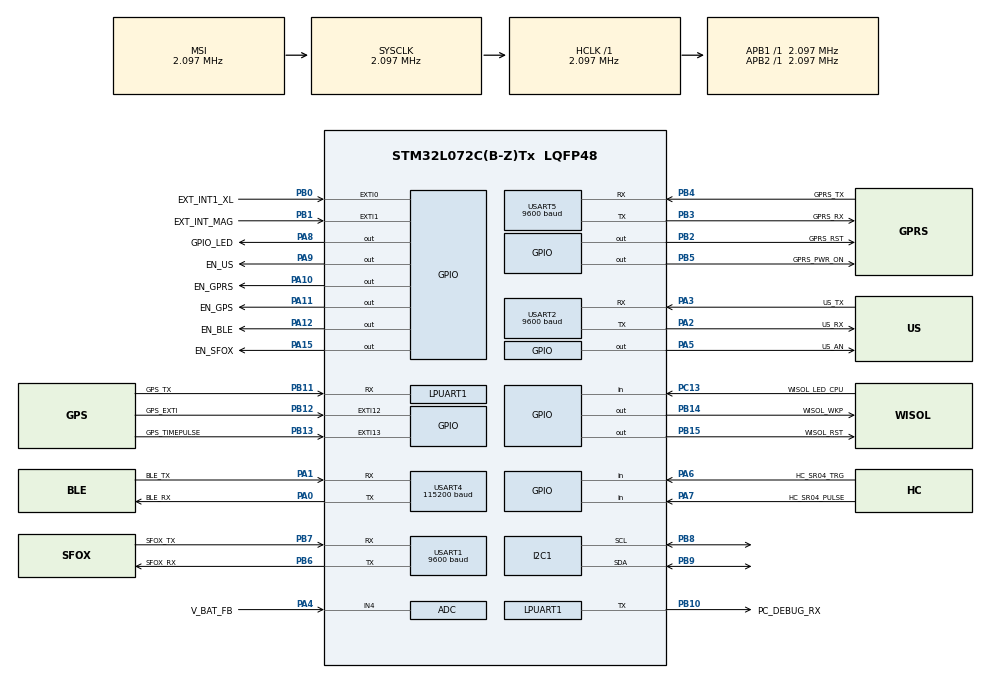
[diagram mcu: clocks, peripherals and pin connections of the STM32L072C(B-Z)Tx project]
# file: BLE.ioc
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Dma.ADC.0.Direction=DMA_PERIPH_TO_MEMORY
Dma.ADC.0.Instance=DMA1_Channel1
Dma.ADC.0.MemDataAlignment=DMA_MDATAALIGN_WORD
Dma.ADC.0.MemInc=DMA_MINC_ENABLE
Dma.ADC.0.Mode=DMA_CIRCULAR
Dma.ADC.0.PeriphDataAlignment=DMA_PDATAALIGN_HALFWORD
Dma.ADC.0.PeriphInc=DMA_PINC_DISABLE
Dma.ADC.0.Priority=DMA_PRIORITY_LOW
Dma.LPUART1_RX.1.Direction=DMA_PERIPH_TO_MEMORY
Dma.LPUART1_RX.1.Instance=DMA1_Channel3
Dma.LPUART1_RX.1.MemDataAlignment=DMA_MDATAALIGN_BYTE
Dma.LPUART1_RX.1.MemInc=DMA_MINC_ENABLE
Dma.LPUART1_RX.1.Mode=DMA_NORMAL
Dma.LPUART1_RX.1.PeriphDataAlignment=DMA_PDATAALIGN_BYTE
Dma.LPUART1_RX.1.PeriphInc=DMA_PINC_DISABLE
Dma.LPUART1_RX.1.Priority=DMA_PRIORITY_VERY_HIGH
Dma.LPUART1_TX.2.Direction=DMA_MEMORY_TO_PERIPH
Dma.LPUART1_TX.2.Instance=DMA1_Channel2
Dma.LPUART1_TX.2.MemDataAlignment=DMA_MDATAALIGN_BYTE
Dma.LPUART1_TX.2.MemInc=DMA_MINC_ENABLE
Dma.LPUART1_TX.2.Mode=DMA_NORMAL
Dma.LPUART1_TX.2.PeriphDataAlignment=DMA_PDATAALIGN_BYTE
Dma.LPUART1_TX.2.PeriphInc=DMA_PINC_DISABLE
Dma.LPUART1_TX.2.Priority=DMA_PRIORITY_VERY_HIGH
Dma.Request0=ADC
Dma.Request1=LPUART1_RX
Dma.Request2=LPUART1_TX
Dma.Request3=USART4_RX
Dma.Request4=USART4_TX
Dma.USART4_RX.3.Direction=DMA_PERIPH_TO_MEMORY
Dma.USART4_RX.3.Instance=DMA1_Channel6
Dma.USART4_RX.3.MemDataAlignment=DMA_MDATAALIGN_BYTE
Dma.USART4_RX.3.MemInc=DMA_MINC_ENABLE
Dma.USART4_RX.3.Mode=DMA_NORMAL
Dma.USART4_RX.3.PeriphDataAlignment=DMA_PDATAALIGN_BYTE
Dma.USART4_RX.3.PeriphInc=DMA_PINC_DISABLE
Dma.USART4_RX.3.Priority=DMA_PRIORITY_HIGH
Dma.USART4_TX.4.Direction=DMA_MEMORY_TO_PERIPH
Dma.USART4_TX.4.Instance=DMA1_Channel7
Dma.USART4_TX.4.MemDataAlignment=DMA_MDATAALIGN_BYTE
Dma.USART4_TX.4.MemInc=DMA_MINC_ENABLE
Dma.USART4_TX.4.Mode=DMA_NORMAL
Dma.USART4_TX.4.PeriphDataAlignment=DMA_PDATAALIGN_BYTE
Dma.USART4_TX.4.PeriphInc=DMA_PINC_DISABLE
Dma.USART4_TX.4.Priority=DMA_PRIORITY_HIGH
LPUART1.BaudRate=9600
LPUART1.WordLength=UART_WORDLENGTH_8B
Mcu.Family=STM32L0
Mcu.Name=STM32L072C(B-Z)Tx
Mcu.Package=LQFP48
NVIC.ADC1_COMP_IRQn=true\:0\:0\:false\:false\:true\:true\:true
NVIC.DMA1_Channel1_IRQn=true\:0\:0\:false\:false\:true\:false\:true
NVIC.DMA1_Channel2_3_IRQn=true\:0\:0\:false\:false\:true\:false\:true
NVIC.DMA1_Channel4_5_6_7_IRQn=true\:0\:0\:false\:false\:true\:false\:true
NVIC.EXTI0_1_IRQn=true\:0\:0\:false\:false\:true\:true\:true
NVIC.EXTI4_15_IRQn=true\:0\:0\:false\:false\:true\:true\:true
NVIC.RCC_CRS_IRQn=true\:0\:0\:false\:false\:true\:true\:false
NVIC.RNG_LPUART1_IRQn=true\:0\:0\:false\:false\:true\:true\:true
NVIC.RTC_IRQn=true\:0\:0\:false\:false\:true\:true\:true
NVIC.USART1_IRQn=true\:0\:0\:false\:false\:true\:true\:true
NVIC.USART2_IRQn=true\:0\:0\:false\:false\:true\:true\:true
NVIC.USART4_5_IRQn=true\:0\:0\:false\:false\:true\:true\:true
PA0.GPIO_Label=BLE_RX
PA0.Mode=Asynchronous
PA0.Signal=USART4_TX
PA1.GPIO_Label=BLE_TX
PA1.Mode=Asynchronous
PA1.Signal=USART4_RX
PA10.GPIO_Label=EN_GPRS
PA10.Signal=GPIO_Output
PA11.GPIO_Label=EN_GPS
PA11.Signal=GPIO_Output
PA12.GPIO_Label=EN_BLE
PA12.Signal=GPIO_Output
PA13.Mode=Serial_Wire
PA13.Signal=SYS_SWDIO
PA14.Mode=Serial_Wire
PA14.Signal=SYS_SWCLK
PA15.GPIO_Label=EN_SFOX
PA15.Signal=GPIO_Output
PA2.GPIO_Label=US_RX
PA2.Mode=Asynchronous
PA2.Signal=USART2_TX
PA3.GPIO_Label=US_TX
PA3.Mode=Asynchronous
PA3.Signal=USART2_RX
PA4.GPIO_Label=V_BAT_FB
PA4.Mode=IN4
PA4.Signal=ADC_IN4
PA5.GPIO_Label=US_AN
PA5.GPIO_PuPd=GPIO_NOPULL
PA5.GPIO_Speed=GPIO_SPEED_FREQ_VERY_HIGH
PA5.PinState=GPIO_PIN_SET
PA5.Signal=GPIO_Output
PA6.GPIO_Label=HC_SR04_TRG
PA6.Signal=GPIO_Input
PA7.GPIO_Label=HC_SR04_PULSE
PA7.Signal=GPIO_Input
PA8.GPIO_Label=GPIO_LED
PA8.GPIO_PuPd=GPIO_PULLDOWN
PA8.GPIO_Speed=GPIO_SPEED_FREQ_HIGH
PA8.Signal=GPIO_Output
PA9.GPIO_Label=EN_US
PA9.Signal=GPIO_Output
PB0.GPIO_Label=EXT_INT1_XL
PB0.Signal=GPXTI0
PB1.GPIO_Label=EXT_INT_MAG
PB1.Signal=GPXTI1
PB10.GPIO_Label=PC_DEBUG_RX
PB10.Mode=Asynchronous
PB10.Signal=LPUART1_TX
PB11.GPIO_Label=GPS_TX
PB11.Mode=Asynchronous
PB11.Signal=LPUART1_RX
PB12.GPIO_Label=GPS_EXTI
PB12.Signal=GPXTI12
PB13.GPIO_Label=GPS_TIMEPULSE
PB13.Signal=GPXTI13
PB14.GPIO_Label=WISOL_WKP
PB14.PinState=GPIO_PIN_SET
PB14.Signal=GPIO_Output
PB15.GPIO_Label=WISOL_RST
PB15.PinState=GPIO_PIN_SET
PB15.Signal=GPIO_Output
PB2.GPIO_Label=GPRS_RST
PB2.GPIO_ModeDefaultOutputPP=GPIO_MODE_OUTPUT_OD
PB2.GPIO_PuPd=GPIO_PULLUP
PB2.PinState=GPIO_PIN_SET
PB2.Signal=GPIO_Output
PB3.GPIO_Label=GPRS_RX
PB3.Mode=Asynchronous
PB3.Signal=USART5_TX
PB4.GPIO_Label=GPRS_TX
PB4.Mode=Asynchronous
PB4.Signal=USART5_RX
PB5.GPIO_Label=GPRS_PWR_ON
PB5.Signal=GPIO_Output
PB6.GPIO_Label=SFOX_RX
PB6.Mode=Asynchronous
PB6.Signal=USART1_TX
PB7.GPIO_Label=SFOX_TX
PB7.Mode=Asynchronous
PB7.Signal=USART1_RX
PB8.Mode=I2C
PB8.Signal=I2C1_SCL
PB9.Mode=I2C
PB9.Signal=I2C1_SDA
PC13.GPIO_Label=WISOL_LED_CPU
PC13.Signal=GPIO_Input
ProjectManager.HeapSize=0x200
ProjectManager.StackSize=0x400
ProjectManager.TargetToolchain=TrueSTUDIO
RCC.ADCFreq_Value=4000000
RCC.AHBFreq_Value=2097000
RCC.APB1Freq_Value=2097000
RCC.APB1TimFreq_Value=2097000
RCC.APB2Freq_Value=2097000
RCC.APB2TimFreq_Value=2097000
RCC.HCLKFreq_Value=2097000
RCC.HSE_Timout=1000
RCC.HSE_VALUE=8000000
RCC.HSI16_VALUE=16000000
RCC.HSI48_VALUE=48000000
RCC.HSIRCDiv=4
RCC.HSI_VALUE=4000000
RCC.INSTRUCTION_CACHE_ENABLE=0
RCC.LSE_VALUE=32768
RCC.MSI_VALUE=2097000
RCC.PLLDIV=RCC_PLLDIV_4
RCC.PLLMUL=RCC_PLLMUL_4
RCC.PREFETCH_ENABLE=1
RCC.SYSCLKFreq_VALUE=2097000
RCC.VCOOutputFreq_Value=16000000
RTC.WakeUpClock-WakeUp=RTC_WAKEUPCLOCK_CK_SPRE_16BITS
RTC.WakeUpCounter-WakeUp=1
USART1.BaudRate=9600
USART1.VirtualMode-Asynchronous=VM_ASYNC
USART2.BaudRate=9600
USART2.VirtualMode-Asynchronous=VM_ASYNC
USART4.BaudRate=115200
USART4.VirtualMode-Asynchronous=VM_ASYNC
USART5.BaudRate=9600
USART5.VirtualMode-Asynchronous=VM_ASYNC
VP_ADC_TempSens_Input.Mode=IN-TempSens
VP_RTC_VS_RTC_Activate.Mode=RTC_Enabled
VP_RTC_VS_RTC_WakeUp_intern.Mode=WakeUp
board=custom

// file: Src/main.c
/* USER CODE BEGIN Header */
/**
 ******************************************************************************
 * @file           : main.c
 * @brief          : Main program body
 ******************************************************************************
 * @attention
 *
 * <h2><center>&copy; Copyright (c) 2020 STMicroelectronics.
 * All rights reserved.</center></h2>
 *
 * This software component is licensed by ST under BSD 3-Clause license,
 * the "License"; You may not use this file except in compliance with the
 * License. You may obtain a copy of the License at:
 *                        opensource.org/licenses/BSD-3-Clause
 *
 ******************************************************************************
 */
/* USER CODE END Header */

#include "main.h"

/* USER CODE BEGIN Includes */
#include <math.h>
#include <string.h>
#include <stdio.h>
#include <stdlib.h>
#include <stdbool.h>

/* USER CODE END Includes */

ADC_HandleTypeDef hadc;
DMA_HandleTypeDef hdma_adc;

I2C_HandleTypeDef hi2c1;

UART_HandleTypeDef hlpuart1;
UART_HandleTypeDef huart1;
UART_HandleTypeDef huart2;
UART_HandleTypeDef huart4;
UART_HandleTypeDef huart5;
DMA_HandleTypeDef hdma_lpuart1_rx;
DMA_HandleTypeDef hdma_lpuart1_tx;
DMA_HandleTypeDef hdma_usart4_rx;
DMA_HandleTypeDef hdma_usart4_tx;

/* USER CODE BEGIN PV */
__IO ITStatus UartReady = RESET;
/* USER CODE END PV */

void SystemClock_Config(void);
static void MX_GPIO_Init(void);
static void MX_DMA_Init(void);
static void MX_ADC_Init(void);
static void MX_I2C1_Init(void);
static void MX_LPUART1_UART_Init(void);
static void MX_USART1_UART_Init(void);
static void MX_USART2_UART_Init(void);
static void MX_USART4_UART_Init(void);
static void MX_USART5_UART_Init(void);
static void MX_RTC_Init(void);
/* USER CODE BEGIN PFP */

/* Buffer used for transmission */
uint8_t aTxBuffer[] = "\n\r ****GPRS TEST****\n\r";

/* Buffer used for reception */
char aRxBuffer[RXBUFFERSIZE];
char word[RXBUFFERSIZE];
int bytesToReceive = sizeof(aRxBuffer), posFimString;

/* USER CODE END PFP */

int main(void) {

	/* MCU Configuration--------------------------------------------------------*/

	/* Reset of all peripherals, Initializes the Flash interface and the Systick. */
	HAL_Init();

	/* Configure the system clock */
	SystemClock_Config();

	/* Initialize all configured peripherals */
	MX_GPIO_Init();
	MX_DMA_Init();
	MX_ADC_Init();
	MX_I2C1_Init();
	MX_LPUART1_UART_Init();
	MX_USART1_UART_Init();
	MX_USART2_UART_Init();
	MX_USART4_UART_Init();
	MX_USART5_UART_Init();
	MX_RTC_Init();
	/* USER CODE BEGIN 2 */

	LED_OFF
	HAL_UART_Transmit(&hlpuart1, (uint8_t*) "\r\nENABLE\r\n", 10, 10);
	HAL_GPIO_WritePin(EN_GPRS_GPIO_Port, EN_GPRS_Pin, 1);
	HAL_Delay(1000);
	HAL_UART_Transmit(&hlpuart1, (uint8_t*) "\r\nRESET\r\n", 9, 10);
	HAL_GPIO_WritePin(GPRS_RST_GPIO_Port, GPRS_RST_Pin, 1);
	HAL_Delay(3000);
	HAL_UART_Transmit(&hlpuart1, (uint8_t*) "\r\nPOWER\r\n", 9, 10);
	HAL_GPIO_WritePin(GPRS_PWR_ON_GPIO_Port, GPRS_PWR_ON_Pin, 1);
	HAL_Delay(10000);
	HAL_UART_Transmit(&hlpuart1, (uint8_t*) "\r\nSTART\r\n", 9, 10);

	/*##-2- Start the transmission process #####################################*/
	/* User start transmission data through "TxBuffer" buffer */
	if (HAL_UART_Transmit_DMA(&hlpuart1, (uint8_t *) aTxBuffer, TXBUFFERSIZE)
			!= HAL_OK) {
		/* Transfer error in transmission process */
		Error_Handler();
	}
	/*##-5- Wait for the end of the transfer ###################################*/
	while (UartReady != SET) {
	}

	/* Reset transmission flag */
	UartReady = RESET;
	/*##-3- Put UART peripheral in reception process ###########################*/
	/* Any data received will be stored in "RxBuffer" buffer : the number max of
	 data received is 10 */

	/*********************************************************************************

	 *********************************************************************************/

	init:

	posFimString = 0;
	if (HAL_UART_Receive_DMA(&hlpuart1, (uint8_t *) aRxBuffer, RXBUFFERSIZE)
			!= HAL_OK) {
		/* Transfer error in reception process */

	}
	/*##-5- Wait for the end of the transfer ###################################*/
	while (UartReady != SET) {
		HAL_UART_Receive_DMA(&hlpuart1, (uint8_t *) aRxBuffer, RXBUFFERSIZE);
		for (int var = 0; var < RXBUFFERSIZE; var++) {
			word[var] = 0;
			if (aRxBuffer[var] == 10) {
				UartReady = SET;
				break;
			}

		}

	}

	/* Reset transmission flag */
	UartReady = RESET;

	for (int var = 0; var < RXBUFFERSIZE; var++) {
		if (aRxBuffer[var] != 0) {
			word[posFimString] = aRxBuffer[var];
			posFimString++;
			aRxBuffer[var] = 0;
		}
	}

	HAL_Delay(100);

	if (posFimString > 2) {
		char tranf[posFimString];
		strcpy(tranf, word);

		/*##-5- Send the received Buffer ###########################################*/
		if (HAL_UART_Transmit_IT(&huart5, (uint8_t *) &tranf, posFimString)
				!= HAL_OK) {
			/* Transfer error in transmission process */
			goto init;
		}
		while (UartReady != SET) {
		}
		UartReady = RESET;

		posFimString = 0;
		if (HAL_UART_Receive_IT(&huart5, (uint8_t *) aRxBuffer, bytesToReceive)
				!= HAL_OK) {
			/* Transfer error in reception process */

		}
		/*##-5- Wait for the end of the transfer ###################################*/
		while (UartReady != SET) {
			for (int var = 0; var < RXBUFFERSIZE; var++) {
				word[var] = 0;
				if (aRxBuffer[var] == 10) {
					UartReady = SET;
					break;
				}
			}
			UartReady = SET;
		}

		/* Reset transmission flag */
		UartReady = RESET;
		HAL_Delay(100);
		for (int var = 0; var < RXBUFFERSIZE; var++) {
			if (aRxBuffer[var] != 0) {
				word[posFimString] = aRxBuffer[var];
				posFimString++;
				aRxBuffer[var] = 0;
			}
		}
		char NEWtranf[posFimString];
		strcpy(NEWtranf, word);
		/*##-5- Send the received Buffer ###########################################*/
		if (HAL_UART_Transmit_DMA(&hlpuart1, (uint8_t *) NEWtranf, posFimString)
				!= HAL_OK || posFimString == 0) {
			/* Transfer error in transmission process */
			goto init;

		}
		while (UartReady != SET) {
		}
		UartReady = RESET;
	}
	/*********************************************************************************

	 *********************************************************************************/
	goto init;
	/*********************************************************************************

	 *********************************************************************************/
	/* USER CODE END 2 */

	/* Infinite loop */
	while (1) {

	}
}

void SystemClock_Config(void) {
	RCC_OscInitTypeDef RCC_OscInitStruct = { 0 };
	RCC_ClkInitTypeDef RCC_ClkInitStruct = { 0 };
	RCC_PeriphCLKInitTypeDef PeriphClkInit = { 0 };

	/** Configure the main internal regulator output voltage
	 */
	__HAL_PWR_VOLTAGESCALING_CONFIG(PWR_REGULATOR_VOLTAGE_SCALE1);
	/** Initializes the CPU, AHB and APB busses clocks
	 */
	RCC_OscInitStruct.OscillatorType = RCC_OSCILLATORTYPE_LSI
			| RCC_OSCILLATORTYPE_MSI;
	RCC_OscInitStruct.LSIState = RCC_LSI_ON;
	RCC_OscInitStruct.MSIState = RCC_MSI_ON;
	RCC_OscInitStruct.MSICalibrationValue = 0;
	RCC_OscInitStruct.MSIClockRange = RCC_MSIRANGE_5;
	RCC_OscInitStruct.PLL.PLLState = RCC_PLL_NONE;
	if (HAL_RCC_OscConfig(&RCC_OscInitStruct) != HAL_OK) {
		Error_Handler();
	}
	/** Initializes the CPU, AHB and APB busses clocks
	 */
	RCC_ClkInitStruct.ClockType = RCC_CLOCKTYPE_HCLK | RCC_CLOCKTYPE_SYSCLK
			| RCC_CLOCKTYPE_PCLK1 | RCC_CLOCKTYPE_PCLK2;
	RCC_ClkInitStruct.SYSCLKSource = RCC_SYSCLKSOURCE_MSI;
	RCC_ClkInitStruct.AHBCLKDivider = RCC_SYSCLK_DIV1;
	RCC_ClkInitStruct.APB1CLKDivider = RCC_HCLK_DIV1;
	RCC_ClkInitStruct.APB2CLKDivider = RCC_HCLK_DIV1;

	if (HAL_RCC_ClockConfig(&RCC_ClkInitStruct, FLASH_LATENCY_0) != HAL_OK) {
		Error_Handler();
	}
	PeriphClkInit.PeriphClockSelection = RCC_PERIPHCLK_USART1
			| RCC_PERIPHCLK_USART2 | RCC_PERIPHCLK_LPUART1 | RCC_PERIPHCLK_I2C1
			| RCC_PERIPHCLK_RTC;
	PeriphClkInit.Usart1ClockSelection = RCC_USART1CLKSOURCE_PCLK2;
	PeriphClkInit.Usart2ClockSelection = RCC_USART2CLKSOURCE_PCLK1;
	PeriphClkInit.Lpuart1ClockSelection = RCC_LPUART1CLKSOURCE_PCLK1;
	PeriphClkInit.I2c1ClockSelection = RCC_I2C1CLKSOURCE_PCLK1;
	PeriphClkInit.RTCClockSelection = RCC_RTCCLKSOURCE_LSI;
	if (HAL_RCCEx_PeriphCLKConfig(&PeriphClkInit) != HAL_OK) {
		Error_Handler();
	}
}

static void MX_ADC_Init(void) {

	ADC_ChannelConfTypeDef sConfig = { 0 };

	/** Configure the global features of the ADC (Clock, Resolution, Data Alignment and number of conversion)
	 */
	hadc.Instance = ADC1;
	hadc.Init.OversamplingMode = DISABLE;
	hadc.Init.ClockPrescaler = ADC_CLOCK_SYNC_PCLK_DIV1;
	hadc.Init.Resolution = ADC_RESOLUTION_12B;
	hadc.Init.SamplingTime = ADC_SAMPLETIME_1CYCLE_5;
	hadc.Init.ScanConvMode = ADC_SCAN_DIRECTION_FORWARD;
	hadc.Init.DataAlign = ADC_DATAALIGN_RIGHT;
	hadc.Init.ContinuousConvMode = DISABLE;
	hadc.Init.DiscontinuousConvMode = DISABLE;
	hadc.Init.ExternalTrigConvEdge = ADC_EXTERNALTRIGCONVEDGE_NONE;
	hadc.Init.ExternalTrigConv = ADC_SOFTWARE_START;
	hadc.Init.DMAContinuousRequests = DISABLE;
	hadc.Init.EOCSelection = ADC_EOC_SINGLE_CONV;
	hadc.Init.Overrun = ADC_OVR_DATA_PRESERVED;
	hadc.Init.LowPowerAutoWait = DISABLE;
	hadc.Init.LowPowerFrequencyMode = DISABLE;
	hadc.Init.LowPowerAutoPowerOff = DISABLE;
	if (HAL_ADC_Init(&hadc) != HAL_OK) {
		Error_Handler();
	}
	/** Configure for the selected ADC regular channel to be converted.
	 */
	sConfig.Channel = ADC_CHANNEL_4;
	sConfig.Rank = ADC_RANK_CHANNEL_NUMBER;
	if (HAL_ADC_ConfigChannel(&hadc, &sConfig) != HAL_OK) {
		Error_Handler();
	}
	/** Configure for the selected ADC regular channel to be converted.
	 */
	sConfig.Channel = ADC_CHANNEL_TEMPSENSOR;
	if (HAL_ADC_ConfigChannel(&hadc, &sConfig) != HAL_OK) {
		Error_Handler();
	}

}

static void MX_I2C1_Init(void) {

	hi2c1.Instance = I2C1;
	hi2c1.Init.Timing = 0x00000708;
	hi2c1.Init.OwnAddress1 = 0;
	hi2c1.Init.AddressingMode = I2C_ADDRESSINGMODE_7BIT;
	hi2c1.Init.DualAddressMode = I2C_DUALADDRESS_DISABLE;
	hi2c1.Init.OwnAddress2 = 0;
	hi2c1.Init.OwnAddress2Masks = I2C_OA2_NOMASK;
	hi2c1.Init.GeneralCallMode = I2C_GENERALCALL_DISABLE;
	hi2c1.Init.NoStretchMode = I2C_NOSTRETCH_DISABLE;
	if (HAL_I2C_Init(&hi2c1) != HAL_OK) {
		Error_Handler();
	}
	/** Configure Analogue filter
	 */
	if (HAL_I2CEx_ConfigAnalogFilter(&hi2c1, I2C_ANALOGFILTER_ENABLE)
			!= HAL_OK) {
		Error_Handler();
	}
	/** Configure Digital filter
	 */
	if (HAL_I2CEx_ConfigDigitalFilter(&hi2c1, 0) != HAL_OK) {
		Error_Handler();
	}

}

static void MX_LPUART1_UART_Init(void) {

	hlpuart1.Instance = LPUART1;
	hlpuart1.Init.BaudRate = 9600;
	hlpuart1.Init.WordLength = UART_WORDLENGTH_8B;
	hlpuart1.Init.StopBits = UART_STOPBITS_1;
	hlpuart1.Init.Parity = UART_PARITY_NONE;
	hlpuart1.Init.Mode = UART_MODE_TX_RX;
	hlpuart1.Init.HwFlowCtl = UART_HWCONTROL_NONE;
	hlpuart1.Init.OneBitSampling = UART_ONE_BIT_SAMPLE_DISABLE;
	hlpuart1.AdvancedInit.AdvFeatureInit = UART_ADVFEATURE_NO_INIT;
	if (HAL_UART_Init(&hlpuart1) != HAL_OK) {
		Error_Handler();
	}

}

static void MX_USART1_UART_Init(void) {

	huart1.Instance = USART1;
	huart1.Init.BaudRate = 9600;
	huart1.Init.WordLength = UART_WORDLENGTH_8B;
	huart1.Init.StopBits = UART_STOPBITS_1;
	huart1.Init.Parity = UART_PARITY_NONE;
	huart1.Init.Mode = UART_MODE_TX_RX;
	huart1.Init.HwFlowCtl = UART_HWCONTROL_NONE;
	huart1.Init.OverSampling = UART_OVERSAMPLING_16;
	huart1.Init.OneBitSampling = UART_ONE_BIT_SAMPLE_DISABLE;
	huart1.AdvancedInit.AdvFeatureInit = UART_ADVFEATURE_NO_INIT;
	if (HAL_UART_Init(&huart1) != HAL_OK) {
		Error_Handler();
	}

}

static void MX_USART2_UART_Init(void) {

	huart2.Instance = USART2;
	huart2.Init.BaudRate = 9600;
	huart2.Init.WordLength = UART_WORDLENGTH_8B;
	huart2.Init.StopBits = UART_STOPBITS_1;
	huart2.Init.Parity = UART_PARITY_NONE;
	huart2.Init.Mode = UART_MODE_TX_RX;
	huart2.Init.HwFlowCtl = UART_HWCONTROL_NONE;
	huart2.Init.OverSampling = UART_OVERSAMPLING_16;
	huart2.Init.OneBitSampling = UART_ONE_BIT_SAMPLE_DISABLE;
	huart2.AdvancedInit.AdvFeatureInit = UART_ADVFEATURE_NO_INIT;
	if (HAL_UART_Init(&huart2) != HAL_OK) {
		Error_Handler();
	}

}

static void MX_USART4_UART_Init(void) {

	huart4.Instance = USART4;
	huart4.Init.BaudRate = 115200;
	huart4.Init.WordLength = UART_WORDLENGTH_8B;
	huart4.Init.StopBits = UART_STOPBITS_1;
	huart4.Init.Parity = UART_PARITY_NONE;
	huart4.Init.Mode = UART_MODE_TX_RX;
	huart4.Init.HwFlowCtl = UART_HWCONTROL_NONE;
	huart4.Init.OverSampling = UART_OVERSAMPLING_16;
	huart4.Init.OneBitSampling = UART_ONE_BIT_SAMPLE_DISABLE;
	huart4.AdvancedInit.AdvFeatureInit = UART_ADVFEATURE_NO_INIT;
	if (HAL_UART_Init(&huart4) != HAL_OK) {
		Error_Handler();
	}

}

static void MX_USART5_UART_Init(void) {

	huart5.Instance = USART5;
	huart5.Init.BaudRate = 9600;
	huart5.Init.WordLength = UART_WORDLENGTH_8B;
	huart5.Init.StopBits = UART_STOPBITS_1;
	huart5.Init.Parity = UART_PARITY_NONE;
	huart5.Init.Mode = UART_MODE_TX_RX;
	huart5.Init.HwFlowCtl = UART_HWCONTROL_NONE;
	huart5.Init.OverSampling = UART_OVERSAMPLING_16;
	huart5.Init.OneBitSampling = UART_ONE_BIT_SAMPLE_DISABLE;
	huart5.AdvancedInit.AdvFeatureInit = UART_ADVFEATURE_NO_INIT;
	if (HAL_UART_Init(&huart5) != HAL_OK) {
		Error_Handler();
	}

}

static void MX_RTC_Init(void) {

	LL_RTC_InitTypeDef RTC_InitStruct = { 0 };

	/* Peripheral clock enable */
	LL_RCC_EnableRTC();

	/* RTC interrupt Init */
	NVIC_SetPriority(RTC_IRQn, 0);
	NVIC_EnableIRQ(RTC_IRQn);

	/** Initialize RTC and set the Time and Date
	 */
	RTC_InitStruct.HourFormat = LL_RTC_HOURFORMAT_24HOUR;
	RTC_InitStruct.AsynchPrescaler = 127;
	RTC_InitStruct.SynchPrescaler = 255;
	LL_RTC_Init(RTC, &RTC_InitStruct);
	/** Initialize RTC and set the Time and Date
	 */
	/** Enable the WakeUp
	 */
	LL_RTC_WAKEUP_SetClock(RTC, LL_RTC_WAKEUPCLOCK_CKSPRE);

}

static void MX_DMA_Init(void) {

	/* DMA controller clock enable */
	__HAL_RCC_DMA1_CLK_ENABLE()
	;

	/* DMA interrupt init */
	/* DMA1_Channel1_IRQn interrupt configuration */
	HAL_NVIC_SetPriority(DMA1_Channel1_IRQn, 0, 0);
	HAL_NVIC_EnableIRQ(DMA1_Channel1_IRQn);
	/* DMA1_Channel2_3_IRQn interrupt configuration */
	HAL_NVIC_SetPriority(DMA1_Channel2_3_IRQn, 0, 0);
	HAL_NVIC_EnableIRQ(DMA1_Channel2_3_IRQn);
	/* DMA1_Channel4_5_6_7_IRQn interrupt configuration */
	HAL_NVIC_SetPriority(DMA1_Channel4_5_6_7_IRQn, 0, 0);
	HAL_NVIC_EnableIRQ(DMA1_Channel4_5_6_7_IRQn);

}

static void MX_GPIO_Init(void) {
	GPIO_InitTypeDef GPIO_InitStruct = { 0 };

	/* GPIO Ports Clock Enable */
	__HAL_RCC_GPIOC_CLK_ENABLE()
	;
	__HAL_RCC_GPIOH_CLK_ENABLE()
	;
	__HAL_RCC_GPIOA_CLK_ENABLE()
	;
	__HAL_RCC_GPIOB_CLK_ENABLE()
	;

	/*Configure GPIO pin Output Level */
	HAL_GPIO_WritePin(US_AN_GPIO_Port, US_AN_Pin, GPIO_PIN_SET);

	/*Configure GPIO pin Output Level */
	HAL_GPIO_WritePin(GPIOB, GPRS_RST_Pin | WISOL_WKP_Pin | WISOL_RST_Pin,
			GPIO_PIN_SET);

	/*Configure GPIO pin Output Level */
	HAL_GPIO_WritePin(GPIOA,
			GPIO_LED_Pin | EN_US_Pin | EN_GPRS_Pin | EN_GPS_Pin | EN_BLE_Pin
					| EN_SFOX_Pin, GPIO_PIN_RESET);

	/*Configure GPIO pin Output Level */
	HAL_GPIO_WritePin(GPRS_PWR_ON_GPIO_Port, GPRS_PWR_ON_Pin, GPIO_PIN_RESET);

	/*Configure GPIO pin : WISOL_LED_CPU_Pin */
	GPIO_InitStruct.Pin = WISOL_LED_CPU_Pin;
	GPIO_InitStruct.Mode = GPIO_MODE_INPUT;
	GPIO_InitStruct.Pull = GPIO_NOPULL;
	HAL_GPIO_Init(WISOL_LED_CPU_GPIO_Port, &GPIO_InitStruct);

	/*Configure GPIO pins : PC14 PC15 */
	GPIO_InitStruct.Pin = GPIO_PIN_14 | GPIO_PIN_15;
	GPIO_InitStruct.Mode = GPIO_MODE_ANALOG;
	GPIO_InitStruct.Pull = GPIO_NOPULL;
	HAL_GPIO_Init(GPIOC, &GPIO_InitStruct);

	/*Configure GPIO pins : PH0 PH1 */
	GPIO_InitStruct.Pin = GPIO_PIN_0 | GPIO_PIN_1;
	GPIO_InitStruct.Mode = GPIO_MODE_ANALOG;
	GPIO_InitStruct.Pull = GPIO_NOPULL;
	HAL_GPIO_Init(GPIOH, &GPIO_InitStruct);

	/*Configure GPIO pin : US_AN_Pin */
	GPIO_InitStruct.Pin = US_AN_Pin;
	GPIO_InitStruct.Mode = GPIO_MODE_OUTPUT_PP;
	GPIO_InitStruct.Pull = GPIO_NOPULL;
	GPIO_InitStruct.Speed = GPIO_SPEED_FREQ_VERY_HIGH;
	HAL_GPIO_Init(US_AN_GPIO_Port, &GPIO_InitStruct);

	/*Configure GPIO pins : HC_SR04_TRG_Pin HC_SR04_PULSE_Pin */
	GPIO_InitStruct.Pin = HC_SR04_TRG_Pin | HC_SR04_PULSE_Pin;
	GPIO_InitStruct.Mode = GPIO_MODE_INPUT;
	GPIO_InitStruct.Pull = GPIO_NOPULL;
	HAL_GPIO_Init(GPIOA, &GPIO_InitStruct);

	/*Configure GPIO pins : EXT_INT1_XL_Pin EXT_INT_MAG_Pin GPS_EXTI_Pin GPS_TIMEPULSE_Pin */
	GPIO_InitStruct.Pin = EXT_INT1_XL_Pin | EXT_INT_MAG_Pin | GPS_EXTI_Pin
			| GPS_TIMEPULSE_Pin;
	GPIO_InitStruct.Mode = GPIO_MODE_IT_RISING;
	GPIO_InitStruct.Pull = GPIO_NOPULL;
	HAL_GPIO_Init(GPIOB, &GPIO_InitStruct);

	/*Configure GPIO pin : GPRS_RST_Pin */
	GPIO_InitStruct.Pin = GPRS_RST_Pin;
	GPIO_InitStruct.Mode = GPIO_MODE_OUTPUT_OD;
	GPIO_InitStruct.Pull = GPIO_PULLUP;
	GPIO_InitStruct.Speed = GPIO_SPEED_FREQ_LOW;
	HAL_GPIO_Init(GPRS_RST_GPIO_Port, &GPIO_InitStruct);

	/*Configure GPIO pins : WISOL_WKP_Pin WISOL_RST_Pin GPRS_PWR_ON_Pin */
	GPIO_InitStruct.Pin = WISOL_WKP_Pin | WISOL_RST_Pin | GPRS_PWR_ON_Pin;
	GPIO_InitStruct.Mode = GPIO_MODE_OUTPUT_PP;
	GPIO_InitStruct.Pull = GPIO_NOPULL;
	GPIO_InitStruct.Speed = GPIO_SPEED_FREQ_LOW;
	HAL_GPIO_Init(GPIOB, &GPIO_InitStruct);

	/*Configure GPIO pin : GPIO_LED_Pin */
	GPIO_InitStruct.Pin = GPIO_LED_Pin;
	GPIO_InitStruct.Mode = GPIO_MODE_OUTPUT_PP;
	GPIO_InitStruct.Pull = GPIO_PULLDOWN;
	GPIO_InitStruct.Speed = GPIO_SPEED_FREQ_HIGH;
	HAL_GPIO_Init(GPIO_LED_GPIO_Port, &GPIO_InitStruct);

	/*Configure GPIO pins : EN_US_Pin EN_GPRS_Pin EN_GPS_Pin EN_BLE_Pin
	 EN_SFOX_Pin */
	GPIO_InitStruct.Pin = EN_US_Pin | EN_GPRS_Pin | EN_GPS_Pin | EN_BLE_Pin
			| EN_SFOX_Pin;
	GPIO_InitStruct.Mode = GPIO_MODE_OUTPUT_PP;
	GPIO_InitStruct.Pull = GPIO_NOPULL;
	GPIO_InitStruct.Speed = GPIO_SPEED_FREQ_LOW;
	HAL_GPIO_Init(GPIOA, &GPIO_InitStruct);

	/* EXTI interrupt init*/
	HAL_NVIC_SetPriority(EXTI0_1_IRQn, 0, 0);
	HAL_NVIC_EnableIRQ(EXTI0_1_IRQn);

	HAL_NVIC_SetPriority(EXTI4_15_IRQn, 0, 0);
	HAL_NVIC_EnableIRQ(EXTI4_15_IRQn);

}

/* USER CODE BEGIN 4 */
/**
 * @brief  Tx Transfer completed callback
 * @param  huart: UART handle.
 * @note   This example shows a simple way to report end of DMA Tx transfer, and
 *         you can add your own implementation.
 * @retval None
 */
void HAL_UART_TxCpltCallback(UART_HandleTypeDef *huart) {
	/* Turn LED1 on: Transfer in transmission process is correct */

	/* Set transmission flag: trasfer complete*/
	UartReady = SET;
}

/**
 * @brief  Rx Transfer completed callback
 * @param  huart: UART handle
 * @note   This example shows a simple way to report end of DMA Rx transfer, and
 *         you can add your own implementation.
 * @retval None
 */
void HAL_UART_RxCpltCallback(UART_HandleTypeDef *huart) {
	/* Turn LED2 on: Transfer in reception process is correct */
	/* Set transmission flag: trasfer complete*/
	UartReady = SET;

}

/* USER CODE END 4 */

void Error_Handler(void) {
}

/************************ (C) COPYRIGHT STMicroelectronics *****END OF FILE****/
